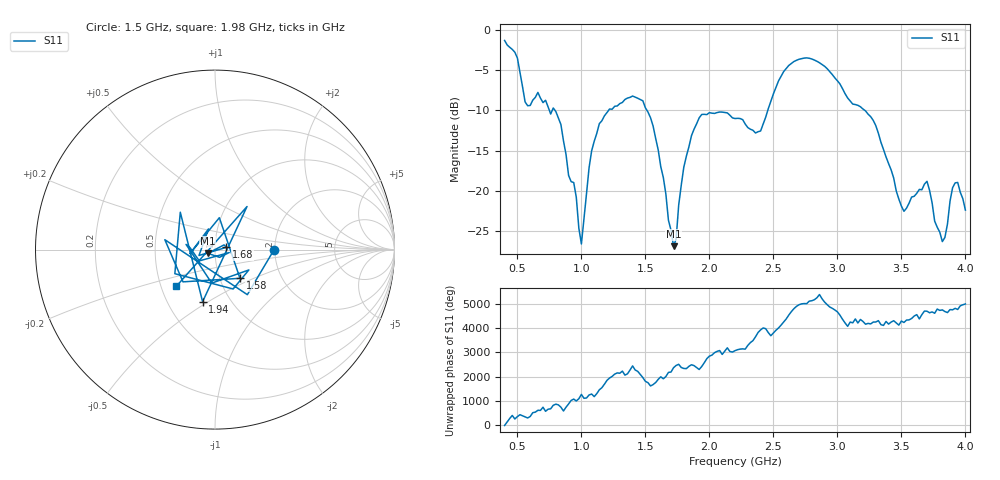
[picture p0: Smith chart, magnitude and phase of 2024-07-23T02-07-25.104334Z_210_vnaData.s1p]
!Created with skrf (http://scikit-rf.org).
# Hz S RI R 50.0
!freq ReS11 ImS11
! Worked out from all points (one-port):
!   181 points, 400 MHz to 4 GHz, reference 50 ohm
!   lowest |S11| = -26.9 dB at 1.72 GHz (marker M1), VSWR 1.09, Z = 46.1 - j1.91 ohm
!   |S11| at or under -10 dB: 794.3 MHz to 1.212 GHz (417.5 MHz wide, 41.6 % of centre); 1.513 GHz to 2.456 GHz (943.4 MHz wide, 47.5 % of centre); 3.215 GHz to end of sweep (the widest 3 of 4)
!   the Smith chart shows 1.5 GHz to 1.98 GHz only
!   S11 on the Smith chart (normalised r, x): 1.5 GHz: 1.98, -0.01; 1.58 GHz: 1.25, -0.42; 1.68 GHz: 1.14, +0.03; 1.94 GHz: 0.74, -0.47; 1.98 GHz: 0.60, -0.27
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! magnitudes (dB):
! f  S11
! 400 MHz  -1.3
! 500 MHz  -3.5
! 560 MHz  -8.9
! 780 MHz  -9.7
! 860 MHz  -13.8
! 960 MHz  -20.8
! 1 GHz  -26.7
! 1.1 GHz  -13.9
! 1.3 GHz  -9.1
! 1.5 GHz  -9.7
! 1.58 GHz  -13.5
! 1.68 GHz  -23.7
! 1.72 GHz  -26.9
! 1.76 GHz  -21.8
! 1.86 GHz  -13.1
! 1.94 GHz  -10.5
! 1.98 GHz  -10.5
! 2.2 GHz  -11.0
! 2.4 GHz  -12.6
! 2.66 GHz  -3.9
! 3.1 GHz  -8.8
! 3.28 GHz  -11.2
! 3.5 GHz  -21.9
! 3.56 GHz  -21.6
! 3.7 GHz  -18.8
! 3.82 GHz  -26.4
! 3.92 GHz  -19.0
! 4 GHz  -22.4
